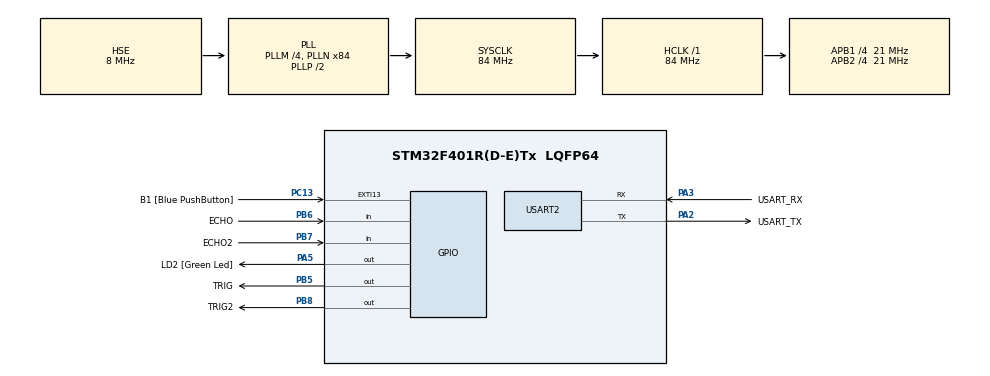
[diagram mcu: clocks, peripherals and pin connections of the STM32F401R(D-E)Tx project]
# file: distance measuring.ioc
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Mcu.Family=STM32F4
Mcu.Name=STM32F401R(D-E)Tx
Mcu.Package=LQFP64
NVIC.PriorityGroup=NVIC_PRIORITYGROUP_0
NVIC.TIM4_IRQn=true\:0\:0\:false\:false\:true\:true\:true\:true
PA13.GPIO_Label=TMS
PA13.Mode=Serial_Wire
PA13.Signal=SYS_JTMS-SWDIO
PA14.GPIO_Label=TCK
PA14.Mode=Serial_Wire
PA14.Signal=SYS_JTCK-SWCLK
PA2.GPIO_Label=USART_TX
PA2.GPIO_Mode=GPIO_MODE_AF_PP
PA2.GPIO_PuPd=GPIO_NOPULL
PA2.GPIO_Speed=GPIO_SPEED_FREQ_LOW
PA2.Mode=Asynchronous
PA2.Signal=USART2_TX
PA3.GPIO_Label=USART_RX
PA3.GPIO_Mode=GPIO_MODE_AF_PP
PA3.GPIO_PuPd=GPIO_NOPULL
PA3.GPIO_Speed=GPIO_SPEED_FREQ_LOW
PA3.Mode=Asynchronous
PA3.Signal=USART2_RX
PA5.GPIO_Label=LD2 [Green Led]
PA5.GPIO_Mode=GPIO_MODE_OUTPUT_PP
PA5.GPIO_PuPd=GPIO_NOPULL
PA5.GPIO_Speed=GPIO_SPEED_FREQ_LOW
PA5.Signal=GPIO_Output
PB3.GPIO_Label=SWO
PB3.Signal=SYS_JTDO-SWO
PB5.GPIO_Label=TRIG
PB5.Signal=GPIO_Output
PB6.GPIO_Label=ECHO
PB6.Signal=GPIO_Input
PB7.GPIO_Label=ECHO2
PB7.Signal=GPIO_Input
PB8.GPIO_Label=TRIG2
PB8.Signal=GPIO_Output
PC13-ANTI_TAMP.GPIO_Label=B1 [Blue PushButton]
PC13-ANTI_TAMP.GPIO_ModeDefaultEXTI=GPIO_MODE_IT_FALLING
PC13-ANTI_TAMP.GPIO_PuPd=GPIO_NOPULL
PC13-ANTI_TAMP.Signal=GPXTI13
PC14-OSC32_IN.Mode=LSE-External-Oscillator
PC14-OSC32_IN.Signal=RCC_OSC32_IN
PC15-OSC32_OUT.Mode=LSE-External-Oscillator
PC15-OSC32_OUT.Signal=RCC_OSC32_OUT
PH0\ -\ OSC_IN.Mode=HSE-External-Oscillator
PH0\ -\ OSC_IN.Signal=RCC_OSC_IN
PH1\ -\ OSC_OUT.Mode=HSE-External-Oscillator
PH1\ -\ OSC_OUT.Signal=RCC_OSC_OUT
ProjectManager.HeapSize=0x200
ProjectManager.StackSize=0x400
ProjectManager.TargetToolchain=MDK-ARM V5.32
RCC.48MHZClocksFreq_Value=24000000
RCC.AHBFreq_Value=84000000
RCC.APB1CLKDivider=RCC_HCLK_DIV4
RCC.APB1Freq_Value=21000000
RCC.APB1TimFreq_Value=42000000
RCC.APB2CLKDivider=RCC_HCLK_DIV4
RCC.APB2Freq_Value=21000000
RCC.APB2TimFreq_Value=42000000
RCC.CortexFreq_Value=84000000
RCC.HCLKFreq_Value=84000000
RCC.HSE_VALUE=8000000
RCC.HSI_VALUE=16000000
RCC.PLLM=4
RCC.PLLN=84
RCC.PLLQ=7
RCC.PLLSourceVirtual=RCC_PLLSOURCE_HSE
RCC.SYSCLKFreq_VALUE=84000000
RCC.SYSCLKSource=RCC_SYSCLKSOURCE_PLLCLK
RCC.VCOOutputFreq_Value=168000000
TIM4.Period=1000-1
TIM4.Prescaler=42-1
USART2.VirtualMode=VM_ASYNC
VP_TIM4_VS_ClockSourceINT.Mode=Internal
board=NUCLEO-F401RE

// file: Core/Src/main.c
/* USER CODE BEGIN Header */
/**
  ******************************************************************************
  * @file           : main.c
  * @brief          : Main program body
  ******************************************************************************
  * @attention
  *
  * Copyright (c) 2024 STMicroelectronics.
  * All rights reserved.
  *
  * This software is licensed under terms that can be found in the LICENSE file
  * in the root directory of this software component.
  * If no LICENSE file comes with this software, it is provided AS-IS.
  *
  ******************************************************************************
  */
/* USER CODE END Header */
#include "main.h"
#include "tim.h"
#include "usart.h"
#include "gpio.h"

/* USER CODE BEGIN Includes */
#include "stdio.h"
/* USER CODE END Includes */

/* USER CODE BEGIN PV */
uint16_t msHcCount_L = 0; // Left ultrasonic measurement counter
uint16_t msHcCount_R = 0; // Right ultrasonic measurement counter
uint16_t Test_length = 0; //Using to measure 2 sensors seperately
float  L_data, R_data;    // Distance measurements for left and right
int    L_int, R_int;      // Integer part of the measurements
float  L_dec, R_dec;      // Decimal part after the point
float  data = 0.0f;        // Initialization of data variable

// Delay for a specified number of microseconds
void delay_us(uint32_t udelay)
{
  __IO uint32_t Delay = udelay * 84 ; // Calculation based on SystemCoreClock (SystemCoreClock / 8U / 1000000U)
  // Reference: from stm32f1xx_hal_rcc.c -- static void RCC_Delay(uint32_t mdelay)
  do
  {
    __NOP();
  }
  while (Delay --);
}

// Function to open timer for ultrasonic measurement
static void OpenTimerForHc()
{
   __HAL_TIM_SET_COUNTER(&htim4, 0); // Initialize the counter to zero
   msHcCount_L = 0; // Reset left counter
   msHcCount_R = 0; // Reset right counter
   HAL_TIM_Base_Start_IT(&htim4); // Start the base timer
}

// Function to close timer for ultrasonic measurement
static void CloseTimerForHc()
{
   HAL_TIM_Base_Stop_IT(&htim4); // Stops the base timer
}

// Function to get echo timer value for left ultrasonic module
uint32_t GetEchoTimer_L(void)
{
   uint32_t t = 0;
   t = msHcCount_L * 1000; // Convert units to milliseconds
   t += __HAL_TIM_GET_COUNTER(&htim4);
   TIM4->CNT = 0;
   HAL_Delay(50); // Delay for 50ms
   return t;
}

// Callback function for timer period elapsed - interrupts for counting time
void HAL_TIM_PeriodElapsedCallback(TIM_HandleTypeDef *htim)
{
  if (htim == (&htim4))
  {
    msHcCount_L++; // Measuring time for left
    msHcCount_R++; // Measuring time for right
  }
}

// Function to get echo timer value for right ultrasonic module
uint32_t GetEchoTimer_R(void)
{
   uint32_t t = 0;
   t = msHcCount_R * 1000; // Convert units to milliseconds
   t += __HAL_TIM_GET_COUNTER(&htim4);
   TIM4->CNT = 0;
   HAL_Delay(50); // Delay for 50ms
   return t;
}

uint32_t Test_L(void)
{
   uint32_t t = 0;
   t = Test_length * 1000; // Convert units to milliseconds
   t += __HAL_TIM_GET_COUNTER(&htim4);
   TIM4->CNT = 0;//set counter back to 0
   HAL_Delay(50); // Delay for 50ms
   return t;
}
// Function to measure distance using left ultrasonic module
float Hcsr04GetLength_L(void)
{
   uint32_t t = 0;

   float lengthTemp_L = 0;

   {
       HAL_GPIO_WritePin(GPIOB, GPIO_PIN_5, GPIO_PIN_SET); // Send start signal  trig2:PB8  echo1:PB6
       delay_us(20);
       HAL_GPIO_WritePin(GPIOB, GPIO_PIN_5, GPIO_PIN_RESET); // End start signal

       while (HAL_GPIO_ReadPin(GPIOB, GPIO_PIN_6) == 0); // Wait for initial low voltage level
       OpenTimerForHc() ; // Start timing when high voltage appears
//       i = i + 1;
       while (HAL_GPIO_ReadPin(GPIOB, GPIO_PIN_6) == 1); // Wait for high voltage level to disappear
       CloseTimerForHc(); // Stop timing
       t = GetEchoTimer_L(); // Process time to calculate distance
       lengthTemp_L = (t / 58.0); // Convert to distance in cm
//

    }

    return lengthTemp_L;
}

// Function to measure distance using right ultrasonic module
float Hcsr04GetLength_R(void)
{
   uint32_t t = 0;

   float lengthTemp_R = 0;

   {
		   HAL_GPIO_WritePin(GPIOB, GPIO_PIN_8 , GPIO_PIN_SET); // Send start signal  trig2:PB8  echo1:PB6
       delay_us(20);
       HAL_GPIO_WritePin(GPIOB, GPIO_PIN_8 , GPIO_PIN_RESET); // End start signal

       while (HAL_GPIO_ReadPin(GPIOB, GPIO_PIN_7) == 0); // Wait for initial low voltage level
       OpenTimerForHc() ; // Start timing when high voltage appears
//   i = i + 1;
       while (HAL_GPIO_ReadPin(GPIOB, GPIO_PIN_7) == 1); // Wait for high voltage level to disappear
       CloseTimerForHc(); // Stop timing
       t = GetEchoTimer_R(); // Process time to calculate distance
       lengthTemp_R = (t / 58.0); // Convert to distance in cm
    }

    return lengthTemp_R; // Return measured distance
}
float test_length=0;
void Test(void)
{
	uint32_t t = 0;

   {
		 HAL_GPIO_WritePin(GPIOB, GPIO_PIN_8| GPIO_PIN_5, GPIO_PIN_SET); // Send start signal trig1:PB5 trig2:PB8  echo1:PB6 echo2:PB7
       delay_us(20);
       HAL_GPIO_WritePin(GPIOB, GPIO_PIN_8| GPIO_PIN_5, GPIO_PIN_RESET); // End start signal

       while (HAL_GPIO_ReadPin(GPIOB, GPIO_PIN_6) == 0); // Wait for initial low voltage level
       OpenTimerForHc() ; // Start timing when high voltage appears

       while (HAL_GPIO_ReadPin(GPIOB, GPIO_PIN_6) == 1); // Wait for high voltage level to disappear
       CloseTimerForHc(); // Stop timing
       t = Test_L(); // Process time to calculate distance
       test_length = (t / 29.0); // Convert to distance in cm
    }

}

// Function to get distance values from ultrasonic modules
void get_hc_da(void)
{

//	  R_data=Hcsr04GetLength_R();
//	  L_data=Hcsr04GetLength_L();
	Test();
  HAL_Delay(300);

   // return lengthTemp_R; // Return distance value
}
/* USER CODE END PV */

void SystemClock_Config(void);

int main(void)
{

  /* MCU Configuration--------------------------------------------------------*/

  /* Reset of all peripherals, Initializes the Flash interface and the Systick. */
  HAL_Init();

  /* Configure the system clock */
  SystemClock_Config();

  /* Initialize all configured peripherals */
  MX_GPIO_Init();
  MX_TIM4_Init();
  MX_USART2_UART_Init();
  /* USER CODE BEGIN 2 */
  // Start base timer for ultrasonic measurement
  /* USER CODE END 2 */

  /* Infinite loop */
  /* USER CODE BEGIN WHILE */
  while (1)
  {
   get_hc_da();
    /* USER CODE END WHILE */

    /* USER CODE BEGIN 3 */
    // Main loop where the ultrasonic data is collected and printed
//		R_data= Hcsr04GetLength_R();
//		HAL_Delay(300);
//		L_data=Hcsr04GetLength_L();
//		  HAL_GPIO_WritePin(GPIOB,GPIO_PIN_5,GPIO_PIN_SET);  //send start signal
//      delay_us(20);
//      HAL_GPIO_WritePin(GPIOB,GPIO_PIN_5,GPIO_PIN_RESET); //End start signal
//     // delay_us(10);
//			HAL_Delay(300);//echo
//
  }
  /* USER CODE END 3 */
}

void SystemClock_Config(void)
{
  RCC_OscInitTypeDef RCC_OscInitStruct = {0};
  RCC_ClkInitTypeDef RCC_ClkInitStruct = {0};

  /** Configure the main internal regulator output voltage
  */
  __HAL_RCC_PWR_CLK_ENABLE();
  __HAL_PWR_VOLTAGESCALING_CONFIG(PWR_REGULATOR_VOLTAGE_SCALE2);

  /** Initializes the RCC Oscillators according to the specified parameters
  * in the RCC_OscInitTypeDef structure.
  */
  RCC_OscInitStruct.OscillatorType = RCC_OSCILLATORTYPE_HSE;
  RCC_OscInitStruct.HSEState = RCC_HSE_ON;
  RCC_OscInitStruct.PLL.PLLState = RCC_PLL_ON;
  RCC_OscInitStruct.PLL.PLLSource = RCC_PLLSOURCE_HSE;
  RCC_OscInitStruct.PLL.PLLM = 4;
  RCC_OscInitStruct.PLL.PLLN = 84;
  RCC_OscInitStruct.PLL.PLLP = RCC_PLLP_DIV2;
  RCC_OscInitStruct.PLL.PLLQ = 7;
  if (HAL_RCC_OscConfig(&RCC_OscInitStruct) != HAL_OK)
  {
    Error_Handler();
  }

  /** Initializes the CPU, AHB and APB buses clocks
  */
  RCC_ClkInitStruct.ClockType = RCC_CLOCKTYPE_HCLK|RCC_CLOCKTYPE_SYSCLK
                              |RCC_CLOCKTYPE_PCLK1|RCC_CLOCKTYPE_PCLK2;
  RCC_ClkInitStruct.SYSCLKSource = RCC_SYSCLKSOURCE_PLLCLK;
  RCC_ClkInitStruct.AHBCLKDivider = RCC_SYSCLK_DIV1;
  RCC_ClkInitStruct.APB1CLKDivider = RCC_HCLK_DIV4;
  RCC_ClkInitStruct.APB2CLKDivider = RCC_HCLK_DIV4;

  if (HAL_RCC_ClockConfig(&RCC_ClkInitStruct, FLASH_LATENCY_2) != HAL_OK)
  {
    Error_Handler();
  }
}

void Error_Handler(void)
{
  __disable_irq();
  while (1)
  {
  }
}

#ifdef  USE_FULL_ASSERT
/**
  * @brief  Reports the name of the source file and the source line number
  *         where the assert_param error has occurred.
  * @param  file: pointer to the source file name
  * @param  line: assert_param error line source number
  * @retval None
  */
void assert_failed(uint8_t *file, uint32_t line)
{
  /* USER CODE BEGIN 6 */
  /* User can add his own implementation to report the file name and line number */
  /* Ex: printf("Wrong parameters value: file %s on line %d\r\n", file, line) */
  /* USER CODE END 6 */
}
#endif /* USE_FULL_ASSERT */
